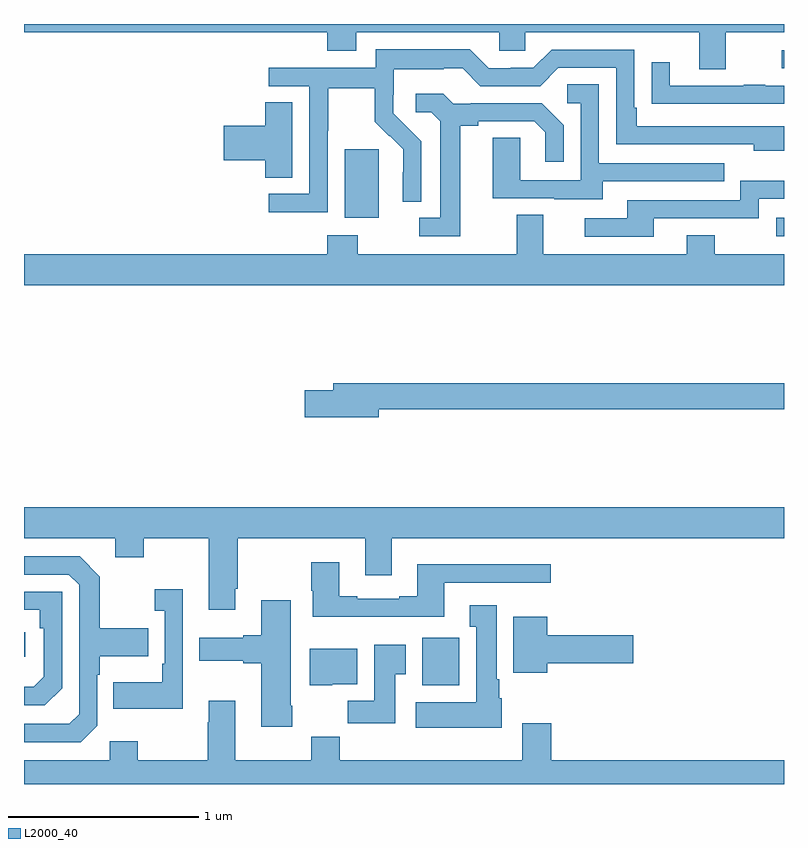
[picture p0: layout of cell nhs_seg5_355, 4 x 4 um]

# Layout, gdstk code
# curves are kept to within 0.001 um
import gdstk
lib = gdstk.Library(unit=1e-6, precision=1e-09)
def R(c, l, rs):  # rectangles x0, y0, x1, y1
    for r in rs: c.add(gdstk.rectangle(r[:2], r[2:], *l))
def P(c, l, *ps):  # polygons
    for p in ps: c.add(gdstk.Polygon(p, *l))
L2000_40 = (2000, 40)

nhs_seg5_355 = lib.new_cell('nhs_seg5_355')
R(nhs_seg5_355, L2000_40, [(135.095,857.318,135.291,857.569), (133,857.468,133.006,857.598), (136.959,859.683,137,859.779), (134.687,859.778,134.866,860.139), (136.989,860.565,137,860.661)])
P(nhs_seg5_355, L2000_40, [(136.693,860.756),(137,860.756),(137,860.799),(133,860.799),(133,860.756),(134.597,860.756),(134.597,860.657),(134.749,860.657),(134.749,860.756),(135.501,860.756),(135.501,860.658),(135.639,860.658),(135.639,860.756),(136.553,860.756),(136.553,860.562),(136.693,860.562)],
  [(134.598,860.236),(134.601,860.236),(134.601,860.46),(134.845,860.46),(134.845,860.285),(134.922,860.208),(134.925,860.211),(134.996,860.141),(134.996,860.018),(134.994,860.018),(134.994,859.864),(135.09,859.864),(135.09,860.182),(134.944,860.33),(134.944,860.427),(134.946,860.427),(134.946,860.561),(135.209,860.561),(135.209,860.565),(135.309,860.565),(135.402,860.472),(135.717,860.472),(135.813,860.568),(136.116,860.568),(136.116,860.166),(136.841,860.166),(136.841,860.132),(137,860.132),(137,860.262),(136.225,860.262),(136.225,860.359),(136.212,860.359),(136.212,860.664),(135.777,860.664),(135.681,860.568),(135.563,860.568),(135.563,860.565),(135.447,860.565),(135.347,860.665),(134.85,860.665),(134.85,860.568),(134.289,860.568),(134.289,860.472),(134.502,860.472),(134.502,859.905),(134.289,859.905),(134.289,859.807),(134.598,859.807)],
  [(137,860.475),(136.901,860.475),(136.901,860.48),(136.789,860.48),(136.789,860.475),(136.399,860.475),(136.399,860.599),(136.303,860.599),(136.303,860.38),(136.405,860.38),(136.405,860.379),(137,860.379)],
  [(136.045,859.971),(136.685,859.971),(136.685,860.067),(136.026,860.067),(136.026,860.483),(135.858,860.483),(135.858,860.382),(135.93,860.382),(135.93,859.977),(135.612,859.977),(135.612,860.201),(135.467,860.201),(135.467,859.881),(135.791,859.881),(135.791,859.877),(136.045,859.877)],
  [(135.295,860.264),(135.391,860.264),(135.391,860.286),(135.686,860.286),(135.743,860.229),(135.743,860.073),(135.84,860.073),(135.84,860.266),(135.724,860.382),(135.352,860.382),(135.352,860.379),(135.258,860.379),(135.206,860.431),(135.063,860.431),(135.063,860.334),(135.144,860.334),(135.191,860.287),(135.191,859.779),(135.081,859.779),(135.081,859.683),(135.295,859.683)],
  [(134.413,860.387),(134.27,860.387),(134.27,860.264),(134.052,860.264),(134.052,860.081),(134.27,860.081),(134.27,859.99),(134.413,859.99)],
  [(136.315,859.776),(136.866,859.776),(136.866,859.878),(137,859.878),(137,859.975),(136.77,859.975),(136.77,859.872),(136.175,859.872),(136.175,859.776),(135.951,859.776),(135.951,859.68),(136.315,859.68)],
  [(137,859.588),(136.635,859.588),(136.635,859.687),(136.487,859.687),(136.487,859.588),(135.733,859.588),(135.733,859.796),(135.593,859.796),(135.593,859.588),(134.757,859.588),(134.757,859.687),(134.597,859.687),(134.597,859.588),(133,859.588),(133,859.424),(137,859.424)],
  [(134.866,858.772),(137,858.772),(137,858.908),(134.627,858.908),(134.627,858.872),(134.478,858.872),(134.478,858.73),(134.866,858.73)],
  [(134.113,857.827),(134.126,857.827),(134.126,858.092),(134.795,858.092),(134.795,857.898),(134.935,857.898),(134.935,858.092),(137,858.092),(137,858.256),(133,858.256),(133,858.092),(133.481,858.092),(133.481,857.993),(133.629,857.993),(133.629,858.092),(133.973,858.092),(133.973,857.715),(134.113,857.715)],
  [(133.386,857.106),(133.386,857.375),(133.399,857.375),(133.399,857.471),(133.655,857.471),(133.655,857.619),(133.399,857.619),(133.399,857.891),(133.293,857.997),(133,857.997),(133,857.901),(133.236,857.901),(133.29,857.847),(133.29,857.166),(133.239,857.115),(133,857.115),(133,857.019),(133.299,857.019)],
  [(135.211,857.859),(135.772,857.859),(135.772,857.956),(135.071,857.956),(135.071,857.788),(134.975,857.788),(134.975,857.775),(134.755,857.775),(134.755,857.788),(134.659,857.788),(134.659,857.965),(134.512,857.965),(134.512,857.817),(134.519,857.817),(134.519,857.678),(135.211,857.678)],
  [(133.836,857.824),(133.689,857.824),(133.689,857.711),(133.74,857.711),(133.74,857.431),(133.728,857.431),(133.728,857.335),(133.471,857.335),(133.471,857.195),(133.836,857.195)],
  [(133.2,857.304),(133.2,857.811),(133,857.811),(133,857.715),(133.084,857.715),(133.084,857.618),(133.104,857.618),(133.104,857.364),(133.051,857.311),(133,857.311),(133,857.214),(133.11,857.214)],
  [(134.412,857.212),(134.404,857.212),(134.404,857.767),(134.249,857.767),(134.249,857.582),(134.153,857.582),(134.153,857.569),(133.923,857.569),(133.923,857.447),(134.153,857.447),(134.153,857.435),(134.249,857.435),(134.249,857.1),(134.412,857.1)],
  [(135.514,857.25),(135.502,857.25),(135.502,857.35),(135.487,857.35),(135.487,857.74),(135.347,857.74),(135.347,857.627),(135.38,857.627),(135.38,857.23),(135.063,857.23),(135.063,857.096),(135.514,857.096)],
  [(135.754,857.435),(136.207,857.435),(136.207,857.582),(135.754,857.582),(135.754,857.68),(135.575,857.68),(135.575,857.384),(135.754,857.384)],
  [(134.953,857.377),(135.01,857.377),(135.01,857.533),(134.843,857.533),(134.843,857.236),(134.704,857.236),(134.704,857.118),(134.953,857.118)],
  [(134.622,857.324),(134.755,857.324),(134.755,857.512),(134.504,857.512),(134.504,857.318),(134.622,857.318)],
  [(137,856.924),(135.776,856.924),(135.776,857.119),(135.623,857.119),(135.623,856.924),(134.663,856.924),(134.663,857.048),(134.512,857.048),(134.512,856.924),(134.113,856.924),(134.113,857.236),(133.973,857.236),(133.973,857.123),(133.966,857.123),(133.966,856.924),(133.599,856.924),(133.599,857.023),(133.452,857.023),(133.452,856.924),(133,856.924),(133,856.799),(137,856.799)])

lib.write_gds('nhs_seg5_355.gds')
